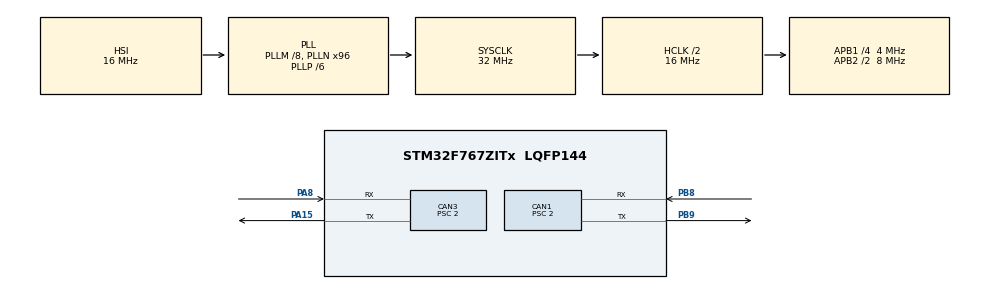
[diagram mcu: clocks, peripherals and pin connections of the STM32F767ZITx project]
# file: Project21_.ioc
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CAN1.BS1=CAN_BS1_13TQ
CAN1.BS2=CAN_BS2_2TQ
CAN1.CalculateTimeQuantum=500.0
CAN1.Prescaler=2
CAN3.BS1=CAN_BS1_13TQ
CAN3.BS2=CAN_BS2_2TQ
CAN3.CalculateTimeQuantum=500.0
CAN3.Prescaler=2
Mcu.Family=STM32F7
Mcu.Name=STM32F767ZITx
Mcu.Package=LQFP144
NVIC.PriorityGroup=NVIC_PRIORITYGROUP_4
PA15.Mode=Master
PA15.Signal=CAN3_TX
PA8.Mode=Master
PA8.Signal=CAN3_RX
PB8.Mode=Master
PB8.Signal=CAN1_RX
PB9.Mode=Master
PB9.Signal=CAN1_TX
PH0/OSC_IN.Mode=HSE-External-Oscillator
PH0/OSC_IN.Signal=RCC_OSC_IN
PH1/OSC_OUT.Mode=HSE-External-Oscillator
PH1/OSC_OUT.Signal=RCC_OSC_OUT
ProjectManager.HeapSize=0x200
ProjectManager.StackSize=0x400
ProjectManager.TargetToolchain=EWARM V8
RCC.48MHZClocksFreq_Value=24000000
RCC.AHBCLKDivider=RCC_SYSCLK_DIV2
RCC.AHBFreq_Value=16000000
RCC.APB1CLKDivider=RCC_HCLK_DIV4
RCC.APB1Freq_Value=4000000
RCC.APB1TimFreq_Value=8000000
RCC.APB2CLKDivider=RCC_HCLK_DIV2
RCC.APB2Freq_Value=8000000
RCC.APB2TimFreq_Value=16000000
RCC.CortexFreq_Value=16000000
RCC.HCLKFreq_Value=16000000
RCC.HSE_VALUE=16000000
RCC.HSI_VALUE=16000000
RCC.LSE_VALUE=32768
RCC.PLLM=8
RCC.PLLMUL=RCC_PLL_MUL9
RCC.PLLN=96
RCC.PLLP=RCC_PLLP_DIV6
RCC.PRESCALERUSB=RCC_USBCLKSOURCE_PLL_DIV1_5
RCC.SYSCLKFreq_VALUE=32000000
RCC.SYSCLKSource=RCC_SYSCLKSOURCE_PLLCLK
RCC.SYSCLKSourceVirtual=RCC_SYSCLKSOURCE_PLLCLK
RCC.USBFreq_Value=96000000
RCC.VCOOutputFreq_Value=192000000
board=NUCLEO-F767ZI

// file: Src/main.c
/* USER CODE BEGIN Header */
/**
  ******************************************************************************
  * @file           : main.c
  * @brief          : Main program body
  ******************************************************************************
  * @attention
  *
  * <h2><center>&copy; Copyright (c) 2021 STMicroelectronics.
  * All rights reserved.</center></h2>
  *
  * This software component is licensed by ST under BSD 3-Clause license,
  * the "License"; You may not use this file except in compliance with the
  * License. You may obtain a copy of the License at:
  *                        opensource.org/licenses/BSD-3-Clause
  *
  ******************************************************************************
  */
/* USER CODE END Header */

#include "main.h"

CAN_HandleTypeDef hcan1;
CAN_HandleTypeDef hcan3;

/* USER CODE BEGIN PV */
CAN_FilterConfTypeDef sFConfig1;
CanTxMsgTypeDef txmsg1;
CanRxMsgTypeDef rxmsg1;

char string[1];

extern uint32_t uwTick;
uint32_t old_uwTick;
CAN_FilterConfTypeDef sFConfig3;
CanTxMsgTypeDef txmsg3;
CanRxMsgTypeDef rxmsg3;

/* USER CODE END PV */

void SystemClock_Config(void);
static void MX_GPIO_Init(void);
static void MX_CAN1_Init(void);
static void MX_CAN3_Init(void);

int main(void)
{

  /* MCU Configuration--------------------------------------------------------*/

  /* Reset of all peripherals, Initializes the Flash interface and the Systick. */
  HAL_Init();

  /* Configure the system clock */
  SystemClock_Config();

  /* Initialize all configured peripherals */
  MX_GPIO_Init();
  MX_CAN1_Init();
  MX_CAN3_Init();
  /* USER CODE BEGIN 2 */

    txmsg1.StdId = 0x100;
    txmsg1.ExtId = 0x01;
    txmsg1.IDE = CAN_ID_STD;
    txmsg1.RTR = CAN_RTR_DATA;
    txmsg1.DLC = 8;
    txmsg1.Data[0]=2;
    txmsg1.Data[1]=2;
    txmsg1.Data[2]=2;
    txmsg1.Data[3]=2;
    txmsg1.Data[4]=2;
    txmsg1.Data[5]=2;
   txmsg1.Data[6]=2;
    txmsg1.Data[7]=2;
    hcan1.pTxMsg = &txmsg1;
    hcan1.pRxMsg = &rxmsg1;

     sFConfig1.FilterNumber = 0; // [0..13]
     sFConfig1.FilterMode = CAN_FILTERMODE_IDMASK;
     sFConfig1.FilterScale = CAN_FILTERSCALE_32BIT;
     sFConfig1.FilterIdHigh = 0; //COMP
     sFConfig1.FilterIdLow = 0;
     sFConfig1.FilterMaskIdHigh = 0; //MASK
     sFConfig1.FilterMaskIdLow = 0;
     sFConfig1.FilterFIFOAssignment = 0;
     sFConfig1.FilterActivation = ENABLE;
     sFConfig1.BankNumber = 14;
     HAL_CAN_ConfigFilter(&hcan1, &sFConfig1);

    txmsg3.StdId = 0x300;
    txmsg3.ExtId = 0x01;
    txmsg3.IDE = CAN_ID_STD;
    txmsg3.RTR = CAN_RTR_DATA;
    txmsg3.DLC = 8;
       txmsg3.Data[0]=5;
    txmsg3.Data[1]=3;
    txmsg3.Data[2]=5;
    txmsg3.Data[3]=3;
    txmsg3.Data[4]=5;
    txmsg3.Data[5]=3;
   txmsg3.Data[6]=5;
    txmsg3.Data[7]=3;
    hcan3.pTxMsg = &txmsg3;
    hcan3.pRxMsg = &rxmsg3;

     sFConfig3.FilterNumber = 0; // [0..13]
     sFConfig3.FilterMode = CAN_FILTERMODE_IDMASK;
     sFConfig3.FilterScale = CAN_FILTERSCALE_32BIT;
     sFConfig3.FilterIdHigh = 0; //COMP
     sFConfig3.FilterIdLow = 0;
     sFConfig3.FilterMaskIdHigh = 0; //MASK
     sFConfig3.FilterMaskIdLow = 0;
     sFConfig3.FilterFIFOAssignment = 0;
     sFConfig3.FilterActivation = ENABLE;
     sFConfig3.BankNumber = 14;

     HAL_CAN_ConfigFilter(&hcan3, &sFConfig3);

	old_uwTick = uwTick;

  /* USER CODE END 2 */

  /* Infinite loop */
  /* USER CODE BEGIN WHILE */
  while (1)
  {
    HAL_CAN_Receive(&hcan1, CAN_FIFO0,10);
      HAL_CAN_Transmit(&hcan3,10);
    //msg=hcan1.pRxMsg->Data[0];
    //msg2=hcan1.pRxMsg->Data[1];

    /* USER CODE END WHILE */

  }
}

void SystemClock_Config(void)
{
  RCC_OscInitTypeDef RCC_OscInitStruct = {0};
  RCC_ClkInitTypeDef RCC_ClkInitStruct = {0};

  /** Configure the main internal regulator output voltage
  */
  __HAL_RCC_PWR_CLK_ENABLE();
  __HAL_PWR_VOLTAGESCALING_CONFIG(PWR_REGULATOR_VOLTAGE_SCALE3);
  /** Initializes the CPU, AHB and APB busses clocks
  */
  RCC_OscInitStruct.OscillatorType = RCC_OSCILLATORTYPE_HSI;
  RCC_OscInitStruct.HSIState = RCC_HSI_ON;
  RCC_OscInitStruct.HSICalibrationValue = RCC_HSICALIBRATION_DEFAULT;
  RCC_OscInitStruct.PLL.PLLState = RCC_PLL_ON;
  RCC_OscInitStruct.PLL.PLLSource = RCC_PLLSOURCE_HSI;
  RCC_OscInitStruct.PLL.PLLM = 8;
  RCC_OscInitStruct.PLL.PLLN = 96;
  RCC_OscInitStruct.PLL.PLLP = RCC_PLLP_DIV6;
  RCC_OscInitStruct.PLL.PLLQ = 2;
  if (HAL_RCC_OscConfig(&RCC_OscInitStruct) != HAL_OK)
  {
    Error_Handler();
  }
  /** Initializes the CPU, AHB and APB busses clocks
  */
  RCC_ClkInitStruct.ClockType = RCC_CLOCKTYPE_HCLK|RCC_CLOCKTYPE_SYSCLK
                              |RCC_CLOCKTYPE_PCLK1|RCC_CLOCKTYPE_PCLK2;
  RCC_ClkInitStruct.SYSCLKSource = RCC_SYSCLKSOURCE_PLLCLK;
  RCC_ClkInitStruct.AHBCLKDivider = RCC_SYSCLK_DIV2;
  RCC_ClkInitStruct.APB1CLKDivider = RCC_HCLK_DIV4;
  RCC_ClkInitStruct.APB2CLKDivider = RCC_HCLK_DIV2;

  if (HAL_RCC_ClockConfig(&RCC_ClkInitStruct, FLASH_LATENCY_0) != HAL_OK)
  {
    Error_Handler();
  }
}

static void MX_CAN1_Init(void)
{

   hcan1.Instance = CAN1;
  hcan1.Init.Prescaler = 6;
  hcan1.Init.Mode = CAN_MODE_NORMAL;
  hcan1.Init.SJW = CAN_SJW_1TQ;
  hcan1.Init.BS1 = CAN_BS1_13TQ;
  hcan1.Init.BS2 = CAN_BS2_2TQ;
  hcan1.Init.TTCM = DISABLE;
  hcan1.Init.ABOM = ENABLE;
  hcan1.Init.AWUM = DISABLE;
  hcan1.Init.NART = DISABLE;
  hcan1.Init.RFLM = DISABLE;
  hcan1.Init.TXFP = DISABLE;
  if (HAL_CAN_Init(&hcan1) != HAL_OK)
  {
    Error_Handler();
  }

}

static void MX_CAN3_Init(void)
{

  hcan3.Instance = CAN3;
  hcan3.Init.Prescaler = 6;
  hcan3.Init.Mode = CAN_MODE_NORMAL;
  hcan3.Init.SJW = CAN_SJW_1TQ;
  hcan3.Init.BS1 = CAN_BS1_13TQ;
  hcan3.Init.BS2 = CAN_BS2_2TQ;
  hcan3.Init.TTCM = DISABLE;
  hcan3.Init.ABOM = DISABLE;
  hcan3.Init.AWUM = DISABLE;
  hcan3.Init.NART = DISABLE;
  hcan3.Init.RFLM = DISABLE;
  hcan3.Init.TXFP = DISABLE;
  if (HAL_CAN_Init(&hcan3) != HAL_OK)
  {
    Error_Handler();
  }

}

static void MX_GPIO_Init(void)
{

  /* GPIO Ports Clock Enable */
  __HAL_RCC_GPIOH_CLK_ENABLE();
  __HAL_RCC_GPIOA_CLK_ENABLE();
  __HAL_RCC_GPIOB_CLK_ENABLE();

}

void Error_Handler(void)
{
}

/************************ (C) COPYRIGHT STMicroelectronics *****END OF FILE****/
